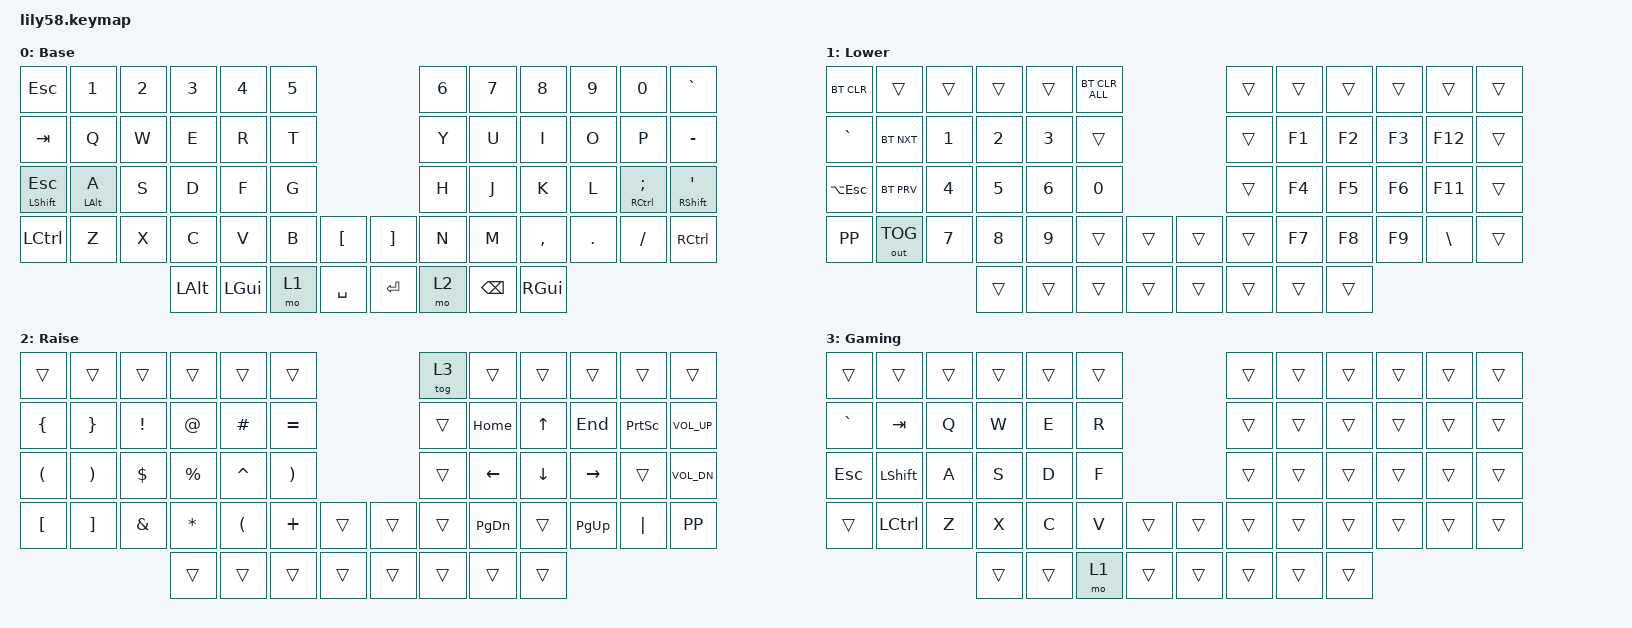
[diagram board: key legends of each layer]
/*
 * Copyright (c) 2020 The ZMK Contributors
 *
 * SPDX-License-Identifier: MIT
 */

#include <behaviors.dtsi>
#include <dt-bindings/zmk/bt.h>
#include <dt-bindings/zmk/keys.h>
#include <dt-bindings/zmk/outputs.h>

/ {
    keymap {
        compatible = "zmk,keymap";

        default_layer {
            display-name = "Base";
            bindings = <
&kp ESC        &kp N1      &kp N2  &kp N3    &kp N4    &kp N5                         &kp N6  &kp N7    &kp N8     &kp N9   &kp N0               &kp GRAVE
&kp TAB        &kp Q       &kp W   &kp E     &kp R     &kp T                          &kp Y   &kp U     &kp I      &kp O    &kp P                &kp MINUS
&mt LSHFT ESC  &mt LALT A  &kp S   &kp D     &kp F     &kp G                          &kp H   &kp J     &kp K      &kp L    &mt RCTRL SEMICOLON  &mt RSHFT SINGLE_QUOTE
&kp LCTRL      &kp Z       &kp X   &kp C     &kp V     &kp B   &kp LBKT     &kp RBKT  &kp N   &kp M     &kp COMMA  &kp DOT  &kp FSLH             &kp RCTRL
                                   &kp LALT  &kp LGUI  &mo 1   &kp SPACE    &kp RET   &mo 2   &kp BSPC  &kp RGUI
            >;
        };

        lower {
            display-name = "Lower";
            bindings = <
&bt BT_CLR   &trans        &trans  &trans  &trans  &bt BT_CLR_ALL                    &trans  &trans  &trans  &trans  &trans         &trans
&kp GRAVE    &bt BT_NXT    &kp N1  &kp N2  &kp N3  &trans                            &trans  &kp F1  &kp F2  &kp F3  &kp F12        &trans
&kp LA(ESC)  &bt BT_PRV    &kp N4  &kp N5  &kp N6  &kp N0                            &trans  &kp F4  &kp F5  &kp F6  &kp F11        &trans
&kp K_PP     &out OUT_TOG  &kp N7  &kp N8  &kp N9  &trans          &trans    &trans  &trans  &kp F7  &kp F8  &kp F9  &kp BACKSLASH  &trans
                                   &trans  &trans  &trans          &trans    &trans  &trans  &trans  &trans
            >;
        };

        raise {
            display-name = "Raise";
            bindings = <
&trans            &trans             &trans      &trans       &trans     &trans                       &tog 3  &trans         &trans    &trans       &trans           &trans
&kp LEFT_BRACE    &kp RIGHT_BRACE    &kp EXCL    &kp AT       &kp HASH   &kp EQUAL                    &trans  &kp HOME       &kp UP    &kp END      &kp PRINTSCREEN  &kp K_VOL_UP
&kp LPAR          &kp RPAR           &kp DOLLAR  &kp PERCENT  &kp CARET  &kp RPAR                     &trans  &kp LEFT       &kp DOWN  &kp RIGHT    &trans           &kp K_VOL_DN
&kp LEFT_BRACKET  &kp RIGHT_BRACKET  &kp AMPS    &kp STAR     &kp LPAR   &kp PLUS   &trans    &trans  &trans  &kp PAGE_DOWN  &trans    &kp PAGE_UP  &kp PIPE         &kp K_PP
                                                 &trans       &trans     &trans     &trans    &trans  &trans  &trans         &trans
            >;
        };

        gaming {
            display-name = "Gaming";
            bindings = <
&trans     &trans     &trans  &trans  &trans  &trans                    &trans  &trans  &trans  &trans  &trans  &trans
&kp GRAVE  &kp TAB    &kp Q   &kp W   &kp E   &kp R                     &trans  &trans  &trans  &trans  &trans  &trans
&kp ESC    &kp LSHFT  &kp A   &kp S   &kp D   &kp F                     &trans  &trans  &trans  &trans  &trans  &trans
&trans     &kp LCTRL  &kp Z   &kp X   &kp C   &kp V   &trans    &trans  &trans  &trans  &trans  &trans  &trans  &trans
                              &trans  &trans  &mo 1   &trans    &trans  &trans  &trans  &trans
            >;
        };
    };
};
